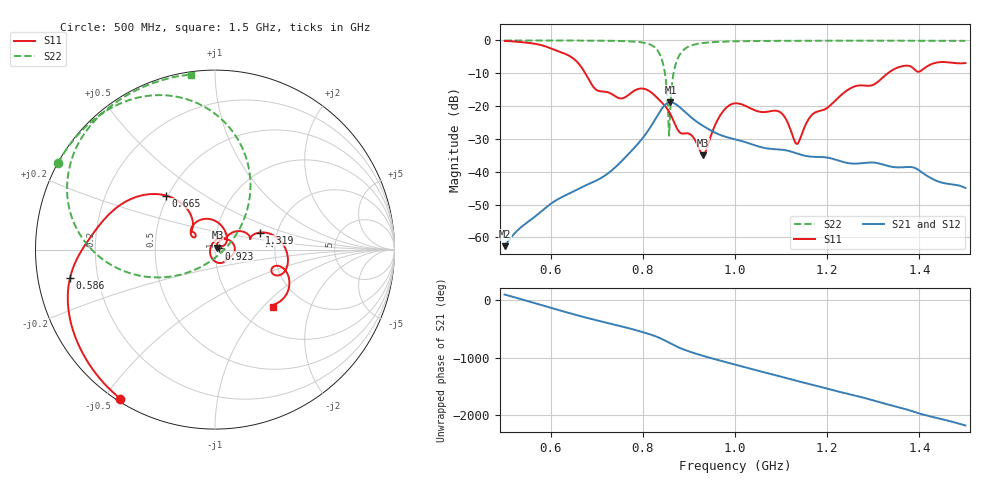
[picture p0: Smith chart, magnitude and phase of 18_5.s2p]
! TOUCHSTONE file generated by CST MICROWAVE STUDIO
! Date and time: Mon Oct 26 12:27:03 2020
! Project name: Scenario_1_Circular_Tissue_out_of_Line.cst
! Parameters = {dy1=-51.203; L_HA=400; MT=2.54; Rad_Dielectric=30; Rad_Lower=7.3; Rad_Upper=30; a_HA=580; a_WG=246; b_HA=500; b_WG=121; c_HA=0; c_WG=187; d_feed=85; dx1=866; h_feed=15; h_lower=18; h_upper=40}
! Header version: 2018
! Port assignment regex: !\s*Touchstone port\s*([0-9]+)\s*=\s*(CST MWS port|CST DS port)\s*([0-9]+|Zmin|Zmax)\s*\(\"(.*)\"\)(\s*mode\s*([0-9]+))?.*
! Touchstone port assignment:
! Touchstone port 1 = CST MWS port 1 ("")
! Touchstone port 2 = CST MWS port 2 ("")
# GHz S DB R 50
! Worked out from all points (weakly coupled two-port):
!   1001 points, 500 MHz to 1.5 GHz, reference 50 ohm
!   highest |S21| = -18.83 dB at 860 MHz (marker M1); lowest = -62.6 dB at 500 MHz (marker M2)
!   lowest |S11| = -34.9 dB at 931 MHz (marker M3), VSWR 1.04, Z = 51.4 + j1.17 ohm
!   |S11| at or under -10 dB: 675 MHz to 1.332 GHz (656.6 MHz wide, 65.4 % of centre)
!   |S22| runs from -29.0 to 0.0 dB; largest |S21 - S12| = 7e-06
!   S11 on the Smith chart (normalised r, x): 500 MHz: 0.01, -0.55; 586 MHz: 0.10, -0.10; 665 MHz: 0.49, +0.35; 923 MHz: 1.04, +0.01; 1.319 GHz: 1.62, +0.33; 1.5 GHz: 1.41, -1.13
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0.5  -0.14 -122.4  -62.64 99.4  -62.64 99.4  -0.01 151.1
0.586  -1.69 -169.0  -51.32 -97.2  -51.32 -97.2  -0.02 145.2
0.665  -7.83 132.1  -44.85 82.6  -44.85 82.6  -0.04 138.5
0.667  -8.22 130.6  -44.71 78.2  -44.71 78.2  -0.04 138.3
0.702  -15.27 136.9  -42.45 6.2  -42.45 6.2  -0.07 134.6
0.78  -15.44 143.5  -32.92 -150.1  -32.92 -150.1  -0.34 120.2
0.834  -17.86 68.6  -22.37 71.8  -22.37 71.8  -3.50 81.8
0.846  -19.63 52.6  -19.95 26.8  -19.95 26.8  -8.48 58.6
0.855  -21.25 39.6  -18.96 -11.1  -18.96 -11.1  -22.19 18.2
0.86  -22.47 32.5  -18.83 -32.4  -18.83 -32.4  -19.10 -126.3
0.867  -24.62 25.5  -19.07 -61.2  -19.07 -61.2  -9.77 -151.6
0.877  -27.49 26.6  -19.98 -98.8  -19.98 -98.8  -5.12 -169.3
0.923  -33.34 17.5  -25.32 130.4  -25.32 130.4  -0.93 156.5
0.931  -34.93 39.5  -26.05 111.2  -26.05 111.2  -0.78 153.8
0.968  -22.80 52.5  -28.76 28.4  -28.76 28.4  -0.40 145.1
1  -19.16 6.2  -30.09 -40.1  -30.09 -40.1  -0.27 140.1
1.098  -21.84 -67.7  -33.23 113.8  -33.23 113.8  -0.12 129.8
1.134  -31.51 169.5  -34.40 36.2  -34.40 36.2  -0.11 126.8
1.167  -22.66 62.3  -35.41 -29.1  -35.41 -29.1  -0.10 124.1
1.319  -11.51 20.9  -37.70 12.5  -37.70 12.5  -0.09 112.6
1.334  -9.75 15.1  -38.29 -19.3  -38.29 -19.3  -0.09 111.4
1.5  -6.89 -44.8  -44.93 -20.3  -44.93 -20.3  -0.13 97.8
